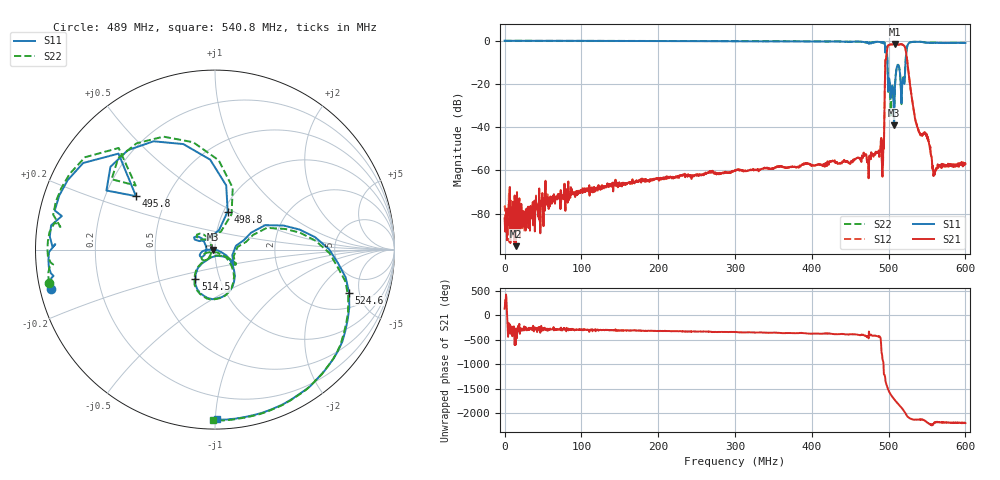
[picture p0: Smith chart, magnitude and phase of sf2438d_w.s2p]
!Agilent Technologies,E5071C,MY46104547,A.08.12
!Date: Wed May 17 14:17:13 2017
!Data & Calibration Information:
!Freq	S11:SOLT2(ON)	S21:SOLT2(ON)	S12:SOLT2(ON)	S22:SOLT2(ON)
# Hz S dB R 50
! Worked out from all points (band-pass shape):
!   1601 points, 9 kHz to 600 MHz, reference 50 ohm
!   highest |S21| = -1.49 dB at 507.8 MHz (marker M1); lowest = -95.1 dB at 14.26 MHz (marker M2)
!   |S21| within 3 dB of the highest: 497.9 MHz to 522.4 MHz (24.47 MHz wide, 4.8 % of centre)
!   lowest |S11| = -39.2 dB at 507 MHz (marker M3), VSWR 1.02, Z = 48.9 + j0.00688 ohm
!   |S11| at or under -10 dB: 498.5 MHz to 522 MHz (23.54 MHz wide, 4.61 % of centre)
!   |S22| runs from -34.8 to 0.2 dB; largest |S21 - S12| = 0.001
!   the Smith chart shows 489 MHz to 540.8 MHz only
!   S11 on the Smith chart (normalised r, x): 489 MHz: 0.03, -0.12; 495.8 MHz: 0.33, +0.28; 498.8 MHz: 1.05, +0.47; 514.5 MHz: 0.76, -0.26; 524.6 MHz: 3.17, -3.95; 540.8 MHz: 0.06, -1.01
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9000  0.05 1.1  -82.14 129.9  -77.24 100.3  0.16 0.8
1.425879e7  -0.00 -3.7  -95.07 111.2  -90.87 90.9  -0.00 -3.8
1.001325e8  -0.04 -26.0  -69.16 63.9  -69.48 65.5  -0.04 -26.3
2.00256e8  -0.09 -51.4  -63.49 31.4  -63.53 31.9  -0.09 -51.9
3.000045e8  -0.20 -76.4  -60.33 16.9  -60.28 18.1  -0.15 -77.1
4.00128e8  -0.26 -102.7  -57.66 -18.1  -57.75 -17.9  -0.24 -103.8
4.890017e8  -0.55 -166.5  -50.90 -86.7  -50.88 -86.8  -0.51 -168.5
4.920016e8  -1.01 178.0  -62.74 -176.4  -62.87 -176.3  -0.61 177.1
4.957516e8  -5.49 145.9  -8.73 122.3  -8.73 122.3  -4.91 141.1
4.987515e8  -13.02 71.6  -2.60 -49.0  -2.60 -49.0  -13.24 64.9
5.002515e8  -18.04 153.8  -1.94 -109.1  -1.94 -109.1  -18.26 145.7
5.032515e8  -25.10 -161.9  -1.70 166.9  -1.70 166.9  -28.45 -130.6
5.070014e8  -39.19 179.6  -1.55 87.5  -1.55 87.5  -34.06 -133.8
5.077514e8  -27.26 -23.4  -1.49 72.5  -1.49 72.5  -27.06 -37.4
5.111263e8  -11.73 -76.6  -1.72 10.9  -1.73 10.9  -11.63 -77.5
5.145013e8  -14.11 -123.8  -1.68 -46.8  -1.68 -46.7  -13.99 -124.8
5.197512e8  -17.84 -35.3  -2.22 -150.4  -2.22 -150.4  -17.21 -33.4
5.246261e8  -2.11 -17.8  -10.45 88.2  -10.46 88.0  -2.08 -19.4
5.30251e8  -0.57 -62.4  -26.47 35.2  -26.50 35.3  -0.54 -63.7
5.407509e8  -0.48 -89.3  -43.17 31.2  -43.21 31.5  -0.44 -90.5
5.598756e8  -0.92 -105.7  -60.11 -38.3  -60.22 -38.8  -0.87 -106.9
6e8  -1.01 -120.4  -56.94 -44.2  -56.87 -44.1  -0.95 -121.8
